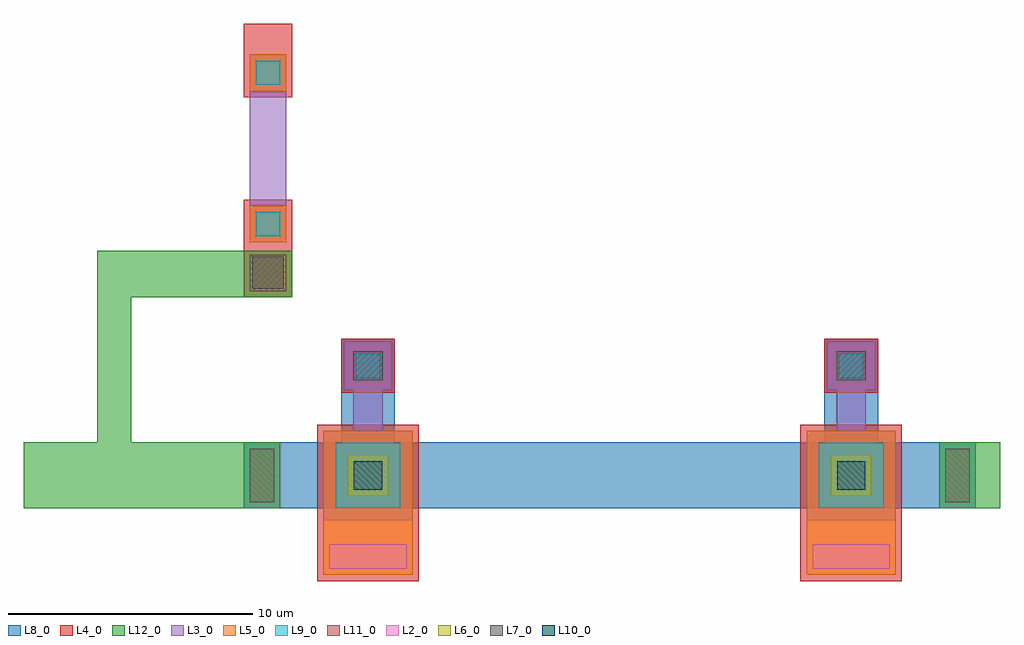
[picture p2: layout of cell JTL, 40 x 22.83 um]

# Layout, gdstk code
import gdstk
lib = gdstk.Library(unit=1e-6, precision=1e-09)
def R(c, l, rs):  # rectangles x0, y0, x1, y1
    for r in rs: c.add(gdstk.rectangle(r[:2], r[2:], *l))
def P(c, l, *ps):  # polygons
    for p in ps: c.add(gdstk.Polygon(p, *l))
L2_0 = (2, 0)
L3_0 = (3, 0)
L4_0 = (4, 0)
L5_0 = (5, 0)
L6_0 = (6, 0)
L7_0 = (7, 0)
L8_0 = (8, 0)
L9_0 = (9, 0)
L10_0 = (10, 0)
L11_0 = (11, 0)
L12_0 = (12, 0)

jtl = lib.new_cell('JTL')
R(jtl, L2_0, [(8.52,16.17,11.68,17.17), (28.32,16.17,31.48,17.17)])
R(jtl, L3_0, [(8.27,18.17,11.93,21.83), (28.07,18.17,31.73,21.83), (9.1,23.49,11.1,25.49), (28.9,23.49,30.9,25.49), (5.25,29.55,6.75,31.05), (5.25,35.75,6.75,37.25)])
R(jtl, L4_0, [(8.02,15.67,12.18,17.92), (27.82,15.67,31.98,17.92), (8.02,17.92,12.18,22.08), (27.82,17.92,31.98,22.08), (9,23.39,11.2,25.59), (28.8,23.39,31,25.59), (5,27.3,7,29.3), (5.1,27.4,6.9,29.2), (5,29.3,7,31.3), (5,35.5,7,37.5), (5,37.5,7,38.5)])
R(jtl, L5_0, [(8.27,15.92,11.93,17.42), (28.07,15.92,31.73,17.42), (8.27,17.42,11.93,18.17), (28.07,17.42,31.73,18.17), (8.27,18.17,11.93,21.83), (28.07,18.17,31.73,21.83), (5.25,29.55,6.75,31.05), (5.25,35.75,6.75,37.25)])
R(jtl, L6_0, [(9.27,19.17,10.93,20.83), (29.07,19.17,30.73,20.83)])
R(jtl, L7_0, [(9.5,23.89,10.7,25.09), (29.3,23.89,30.5,25.09), (5.35,27.65,6.65,28.95)])
R(jtl, L8_0, [(5,18.65,35,21.35), (9,21.35,11.2,25.59), (28.8,21.35,31,25.6)])
R(jtl, L9_0, [(8.77,18.67,11.43,21.33), (28.57,18.67,31.23,21.33), (9.6,23.99,10.6,24.99), (29.4,23.99,30.4,24.99), (5.5,29.8,6.5,30.8), (5.5,36,6.5,37)])
R(jtl, L10_0, [(9.52,19.42,10.68,20.58), (29.32,19.42,30.48,20.58)])
R(jtl, L11_0, [(5.25,18.9,6.25,21.1), (33.75,18.9,34.75,21.1), (5.25,27.55,6.75,29.05)])
R(jtl, L12_0, [(-4,18.65,6.5,21.35), (33.5,18.65,36,21.35)])
P(jtl, L12_0, [(-1,21),(0.4,21),(0.4,27.3),(7,27.3),(7,29.2),(-1,29.2)])
jtl.add(gdstk.FlexPath([(10.1,21.33),(10.1,23.99)], 1.2, ends="flush", simple_path=True, layer=3, datatype=0))  # L3_0
jtl.add(gdstk.FlexPath([(29.9,21.33),(29.9,23.99)], 1.2, ends="flush", simple_path=True, layer=3, datatype=0))  # L3_0
jtl.add(gdstk.FlexPath([(6,30.8),(6,36)], 1.5, ends="flush", simple_path=True, layer=3, datatype=0))  # L3_0

lib.write_gds('JTL.gds')
